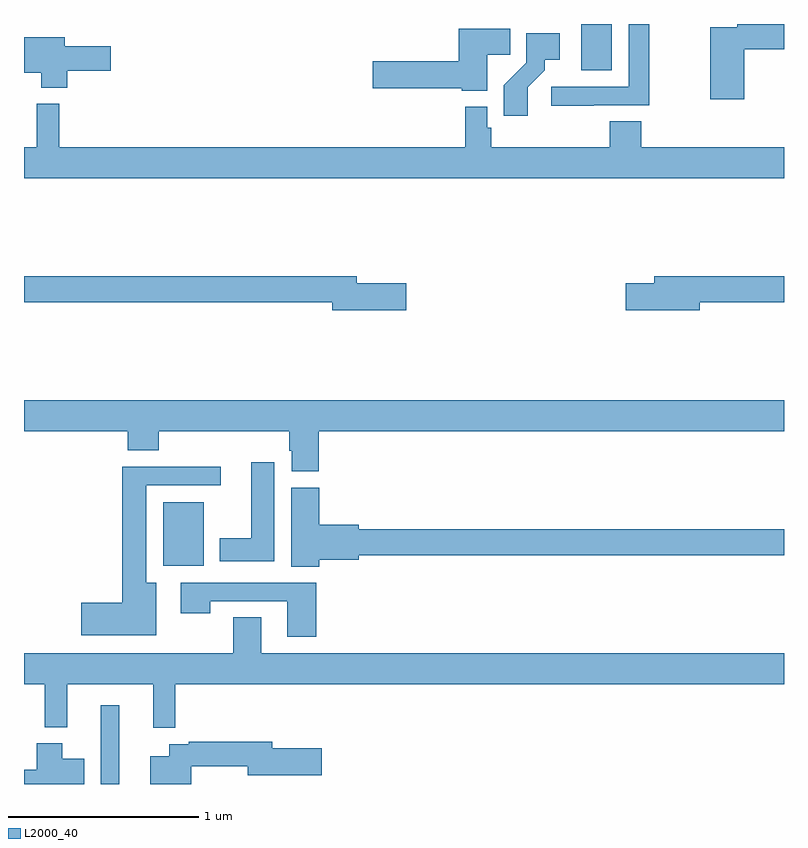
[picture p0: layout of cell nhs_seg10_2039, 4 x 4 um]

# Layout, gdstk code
import gdstk
lib = gdstk.Library(unit=1e-6, precision=1e-09)
def R(c, l, rs):  # rectangles x0, y0, x1, y1
    for r in rs: c.add(gdstk.rectangle(r[:2], r[2:], *l))
def P(c, l, *ps):  # polygons
    for p in ps: c.add(gdstk.Polygon(p, *l))
L2000_40 = (2000, 40)

nhs_seg10_2039 = lib.new_cell('nhs_seg10_2039')
R(nhs_seg10_2039, L2000_40, [(219.405,1258.5,219.502,1258.915), (219.734,1259.648,219.946,1259.983), (221.933,1262.256,222.094,1262.5)])
P(nhs_seg10_2039, L2000_40, [(221.999,1262.073),(222.292,1262.073),(222.292,1262.5),(222.183,1262.5),(222.183,1262.169),(221.775,1262.169),(221.775,1262.071),(221.999,1262.071)],
  [(222.791,1262.368),(223,1262.368),(223,1262.5),(222.754,1262.5),(222.754,1262.484),(222.613,1262.484),(222.613,1262.103),(222.791,1262.103)],
  [(221.437,1262.338),(221.558,1262.338),(221.558,1262.476),(221.288,1262.476),(221.288,1262.303),(220.836,1262.303),(220.836,1262.161),(221.304,1262.161),(221.304,1262.15),(221.437,1262.15)],
  [(221.65,1262.167),(221.74,1262.257),(221.74,1262.312),(221.821,1262.312),(221.821,1262.452),(221.643,1262.452),(221.643,1262.297),(221.524,1262.178),(221.524,1262.016),(221.65,1262.016)],
  [(219.227,1262.254),(219.457,1262.254),(219.457,1262.383),(219.214,1262.383),(219.214,1262.431),(219,1262.431),(219,1262.243),(219.092,1262.243),(219.092,1262.165),(219.227,1262.165)],
  [(223,1261.852),(222.248,1261.852),(222.248,1261.988),(222.083,1261.988),(222.083,1261.852),(221.459,1261.852),(221.459,1261.953),(221.439,1261.953),(221.439,1262.065),(221.323,1262.065),(221.323,1261.852),(219.185,1261.852),(219.185,1262.08),(219.068,1262.08),(219.068,1261.852),(219,1261.852),(219,1261.688),(223,1261.688)],
  [(222.556,1261.036),(223,1261.036),(223,1261.172),(222.317,1261.172),(222.317,1261.136),(222.168,1261.136),(222.168,1260.994),(222.556,1260.994)],
  [(221.011,1261.136),(220.75,1261.136),(220.75,1261.172),(219,1261.172),(219,1261.036),(220.622,1261.036),(220.622,1260.994),(221.011,1260.994)],
  [(220.55,1260.356),(223,1260.356),(223,1260.52),(219,1260.52),(219,1260.356),(219.545,1260.356),(219.545,1260.257),(219.71,1260.257),(219.71,1260.356),(220.397,1260.356),(220.397,1260.255),(220.409,1260.255),(220.409,1260.145),(220.55,1260.145)],
  [(220.318,1260.193),(220.196,1260.193),(220.196,1259.794),(220.031,1259.794),(220.031,1259.672),(220.318,1259.672)],
  [(219.697,1259.56),(219.643,1259.56),(219.643,1260.072),(220.036,1260.072),(220.036,1260.17),(219.518,1260.17),(219.518,1259.453),(219.3,1259.453),(219.3,1259.282),(219.697,1259.282)],
  [(220.553,1259.681),(220.762,1259.681),(220.762,1259.704),(223,1259.704),(223,1259.84),(220.762,1259.84),(220.762,1259.864),(220.553,1259.864),(220.553,1260.06),(220.406,1260.06),(220.406,1259.644),(220.553,1259.644)],
  [(220.538,1259.559),(219.825,1259.559),(219.825,1259.4),(219.981,1259.4),(219.981,1259.463),(220.385,1259.463),(220.385,1259.274),(220.538,1259.274)],
  [(219.797,1259.024),(223,1259.024),(223,1259.188),(220.249,1259.188),(220.249,1259.378),(220.102,1259.378),(220.102,1259.188),(219,1259.188),(219,1259.024),(219.109,1259.024),(219.109,1258.799),(219.227,1258.799),(219.227,1259.024),(219.68,1259.024),(219.68,1258.795),(219.797,1258.795)],
  [(219.88,1258.594),(220.178,1258.594),(220.178,1258.547),(220.567,1258.547),(220.567,1258.689),(220.306,1258.689),(220.306,1258.723),(219.868,1258.723),(219.868,1258.71),(219.764,1258.71),(219.764,1258.645),(219.665,1258.645),(219.665,1258.5),(219.88,1258.5)],
  [(219.316,1258.633),(219.202,1258.633),(219.202,1258.714),(219.068,1258.714),(219.068,1258.575),(219,1258.575),(219,1258.5),(219.316,1258.5)])

lib.write_gds('nhs_seg10_2039.gds')
